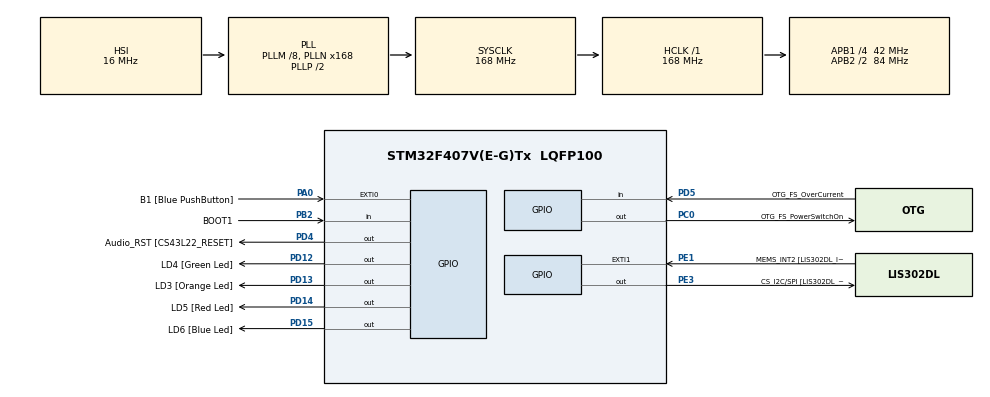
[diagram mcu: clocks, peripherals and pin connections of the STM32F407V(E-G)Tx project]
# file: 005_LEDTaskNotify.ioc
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Mcu.Family=STM32F4
Mcu.Name=STM32F407V(E-G)Tx
Mcu.Package=LQFP100
NVIC.PriorityGroup=NVIC_PRIORITYGROUP_4
NVIC.TIM6_DAC_IRQn=true\:15\:0\:false\:false\:true\:false\:true\:true
NVIC.TimeBase=TIM6_DAC_IRQn
NVIC.TimeBaseIP=TIM6
PA0-WKUP.GPIO_Label=B1 [Blue PushButton]
PA0-WKUP.Signal=GPXTI0
PA10.GPIO_Label=OTG_FS_ID
PA10.GPIO_Mode=GPIO_MODE_AF_PP
PA10.GPIO_PuPd=GPIO_NOPULL
PA10.GPIO_Speed=GPIO_SPEED_FREQ_LOW
PA10.Signal=USB_OTG_FS_ID
PA11.GPIO_Label=OTG_FS_DM
PA11.GPIO_Mode=GPIO_MODE_AF_PP
PA11.GPIO_PuPd=GPIO_NOPULL
PA11.GPIO_Speed=GPIO_SPEED_FREQ_LOW
PA11.Signal=USB_OTG_FS_DM
PA12.GPIO_Label=OTG_FS_DP
PA12.GPIO_Mode=GPIO_MODE_AF_PP
PA12.GPIO_PuPd=GPIO_NOPULL
PA12.GPIO_Speed=GPIO_SPEED_FREQ_LOW
PA12.Signal=USB_OTG_FS_DP
PA13.GPIO_Label=SWDIO
PA13.Signal=SYS_JTMS-SWDIO
PA14.GPIO_Label=SWCLK
PA14.Signal=SYS_JTCK-SWCLK
PA4.GPIO_Label=I2S3_WS [CS43L22_LRCK]
PA4.GPIO_Mode=GPIO_MODE_AF_PP
PA4.GPIO_PuPd=GPIO_NOPULL
PA4.GPIO_Speed=GPIO_SPEED_FREQ_LOW
PA4.Signal=I2S3_WS
PA5.GPIO_Label=SPI1_SCK [LIS302DL_SCL/SPC]
PA5.GPIO_Mode=GPIO_MODE_AF_PP
PA5.GPIO_PuPd=GPIO_NOPULL
PA5.GPIO_Speed=GPIO_SPEED_FREQ_LOW
PA5.Signal=SPI1_SCK
PA6.GPIO_Label=SPI1_MISO [LIS302DL_SDO]
PA6.GPIO_Mode=GPIO_MODE_AF_PP
PA6.GPIO_PuPd=GPIO_NOPULL
PA6.GPIO_Speed=GPIO_SPEED_FREQ_LOW
PA6.Signal=SPI1_MISO
PA7.GPIO_Label=SPI1_MOSI [LIS302DL_SDA/SDI/SDO]
PA7.GPIO_Mode=GPIO_MODE_AF_PP
PA7.GPIO_PuPd=GPIO_NOPULL
PA7.GPIO_Speed=GPIO_SPEED_FREQ_LOW
PA7.Signal=SPI1_MOSI
PA9.GPIO_Label=VBUS_FS
PA9.GPIO_Mode=GPIO_MODE_INPUT
PA9.GPIO_PuPd=GPIO_NOPULL
PA9.Signal=USB_OTG_FS_VBUS
PB10.GPIO_Label=CLK_IN [MP45DT02_CLK]
PB10.GPIO_Mode=GPIO_MODE_AF_PP
PB10.GPIO_PuPd=GPIO_NOPULL
PB10.GPIO_Speed=GPIO_SPEED_FREQ_LOW
PB10.Signal=I2S2_CK
PB2.GPIO_Label=BOOT1
PB2.GPIO_Mode=GPIO_MODE_INPUT
PB2.GPIO_PuPd=GPIO_NOPULL
PB2.Signal=GPIO_Input
PB3.GPIO_Label=SWO
PB3.Signal=SYS_JTDO-SWO
PB6.GPIO_Label=Audio_SCL [CS43L22_SCL]
PB6.GPIO_Mode=GPIO_MODE_AF_OD
PB6.GPIO_PuPd=GPIO_NOPULL
PB6.GPIO_Speed=GPIO_SPEED_FREQ_LOW
PB6.Signal=I2C1_SCL
PB9.GPIO_Label=Audio_SDA [CS43L22_SDA]
PB9.GPIO_Mode=GPIO_MODE_AF_OD
PB9.GPIO_PuPd=GPIO_NOPULL
PB9.GPIO_Speed=GPIO_SPEED_FREQ_LOW
PB9.Signal=I2C1_SDA
PC0.GPIO_Label=OTG_FS_PowerSwitchOn
PC0.GPIO_PuPd=GPIO_NOPULL
PC0.GPIO_Speed=GPIO_SPEED_FREQ_LOW
PC0.PinState=GPIO_PIN_SET
PC0.Signal=GPIO_Output
PC10.GPIO_Label=I2S3_SCK [CS43L22_SCLK]
PC10.GPIO_Mode=GPIO_MODE_AF_PP
PC10.GPIO_PuPd=GPIO_NOPULL
PC10.GPIO_Speed=GPIO_SPEED_FREQ_LOW
PC10.Signal=I2S3_CK
PC12.GPIO_Label=I2S3_SD [CS43L22_SDIN]
PC12.GPIO_Mode=GPIO_MODE_AF_PP
PC12.GPIO_PuPd=GPIO_NOPULL
PC12.GPIO_Speed=GPIO_SPEED_FREQ_LOW
PC12.Signal=I2S3_SD
PC14-OSC32_IN.GPIO_Label=PC14-OSC32_IN
PC14-OSC32_IN.Signal=RCC_OSC32_IN
PC15-OSC32_OUT.GPIO_Label=PC15-OSC32_OUT
PC15-OSC32_OUT.Signal=RCC_OSC32_OUT
PC3.GPIO_Label=PDM_OUT [MP45DT02_DOUT]
PC3.GPIO_Mode=GPIO_MODE_AF_PP
PC3.GPIO_PuPd=GPIO_NOPULL
PC3.GPIO_Speed=GPIO_SPEED_FREQ_LOW
PC3.Signal=I2S2_SD
PC7.GPIO_Label=I2S3_MCK [CS43L22_MCLK]
PC7.GPIO_Mode=GPIO_MODE_AF_PP
PC7.GPIO_PuPd=GPIO_NOPULL
PC7.GPIO_Speed=GPIO_SPEED_FREQ_LOW
PC7.Signal=I2S3_MCK
PD12.GPIO_Label=LD4 [Green Led]
PD12.GPIO_PuPd=GPIO_NOPULL
PD12.GPIO_Speed=GPIO_SPEED_FREQ_LOW
PD12.Signal=GPIO_Output
PD13.GPIO_Label=LD3 [Orange Led]
PD13.GPIO_PuPd=GPIO_NOPULL
PD13.GPIO_Speed=GPIO_SPEED_FREQ_LOW
PD13.Signal=GPIO_Output
PD14.GPIO_Label=LD5 [Red Led]
PD14.GPIO_PuPd=GPIO_NOPULL
PD14.GPIO_Speed=GPIO_SPEED_FREQ_LOW
PD14.Signal=GPIO_Output
PD15.GPIO_Label=LD6 [Blue Led]
PD15.GPIO_PuPd=GPIO_NOPULL
PD15.GPIO_Speed=GPIO_SPEED_FREQ_LOW
PD15.Signal=GPIO_Output
PD4.GPIO_Label=Audio_RST [CS43L22_RESET]
PD4.GPIO_PuPd=GPIO_NOPULL
PD4.GPIO_Speed=GPIO_SPEED_FREQ_LOW
PD4.Signal=GPIO_Output
PD5.GPIO_Label=OTG_FS_OverCurrent
PD5.GPIO_Mode=GPIO_MODE_INPUT
PD5.GPIO_PuPd=GPIO_NOPULL
PD5.Signal=GPIO_Input
PE1.GPIO_Label=MEMS_INT2 [LIS302DL_INT2]
PE1.GPIO_ModeDefaultEXTI=GPIO_MODE_EVT_RISING
PE1.GPIO_PuPd=GPIO_NOPULL
PE1.Signal=GPXTI1
PE3.GPIO_Label=CS_I2C/SPI [LIS302DL_CS_I2C/SPI]
PE3.GPIO_PuPd=GPIO_NOPULL
PE3.GPIO_Speed=GPIO_SPEED_FREQ_LOW
PE3.Signal=GPIO_Output
PH0-OSC_IN.GPIO_Label=PH0-OSC_IN
PH0-OSC_IN.Signal=RCC_OSC_IN
PH1-OSC_OUT.GPIO_Label=PH1-OSC_OUT
PH1-OSC_OUT.Signal=RCC_OSC_OUT
ProjectManager.HeapSize=0x200
ProjectManager.StackSize=0x400
ProjectManager.TargetToolchain=STM32CubeIDE
RCC.48MHZClocksFreq_Value=48000000
RCC.AHBFreq_Value=168000000
RCC.APB1CLKDivider=RCC_HCLK_DIV4
RCC.APB1Freq_Value=42000000
RCC.APB1TimFreq_Value=84000000
RCC.APB2CLKDivider=RCC_HCLK_DIV2
RCC.APB2Freq_Value=84000000
RCC.APB2TimFreq_Value=168000000
RCC.CortexFreq_Value=168000000
RCC.HCLKFreq_Value=168000000
RCC.HSE_VALUE=8000000
RCC.HSI_VALUE=16000000
RCC.LSE_VALUE=32768
RCC.PLLM=8
RCC.PLLN=168
RCC.PLLQ=7
RCC.SYSCLKFreq_VALUE=168000000
RCC.SYSCLKSource=RCC_SYSCLKSOURCE_PLLCLK
RCC.VCOOutputFreq_Value=336000000
VP_SYS_VS_tim6.Mode=TIM6
board=STM32F407G-DISC1

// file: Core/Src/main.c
/* USER CODE BEGIN Header */
/**
  ******************************************************************************
  * @file           : main.c
  * @brief          : Main program body
  ******************************************************************************
  * @attention
  *
  * Copyright (c) 2025 STMicroelectronics.
  * All rights reserved.
  *
  * This software is licensed under terms that can be found in the LICENSE file
  * in the root directory of this software component.
  * If no LICENSE file comes with this software, it is provided AS-IS.
  *
  ******************************************************************************
  */
/* USER CODE END Header */
#include "main.h"

/* USER CODE BEGIN Includes */
#include "FreeRTOS.h"
#include "task.h"
/* USER CODE END Includes */

/* USER CODE BEGIN PV */
#define DWT_CTRL    (*(volatile uint32_t*)0xE0001000)
/* USER CODE END PV */

void SystemClock_Config(void);
static void MX_GPIO_Init(void);
/* USER CODE BEGIN PFP */
static void led_green_handler(void* parameters);
static void led_orange_handler(void* parameters);
static void led_red_handler(void* parameters);
static void button_handler(void* parameters);
extern void SEGGER_UART_init(uint32_t);

/* LED freeze flags */
volatile uint8_t green_frozen  = 0;
volatile uint8_t orange_frozen = 0;
volatile uint8_t red_frozen    = 0;
volatile uint8_t frozen_count = 0;

/* Task handles */
TaskHandle_t ledg_task_handle;
TaskHandle_t ledo_task_handle;
TaskHandle_t ledr_task_handle;
TaskHandle_t btn_task_handle;

/* Task that will be notified next */
TaskHandle_t volatile next_task_handle = NULL;

/* USER CODE END PFP */

int main(void)
{

  /* USER CODE BEGIN 1 */
	BaseType_t status;

  /* USER CODE END 1 */

  /* MCU Configuration--------------------------------------------------------*/

  /* Reset of all peripherals, Initializes the Flash interface and the Systick. */
  HAL_Init();

  /* Configure the system clock */
  SystemClock_Config();

  /* Initialize all configured peripherals */
  MX_GPIO_Init();
  /* USER CODE BEGIN 2 */
  SEGGER_UART_init(500000);

  /* CYCLCNT enable */
  DWT_CTRL |= ( 1 << 0);

  SEGGER_SYSVIEW_Conf();

  /* Create the task, storing the handle led green. */
  status = xTaskCreate(led_green_handler, "LED_green_task", 200, NULL, 2, &ledg_task_handle);
  configASSERT(status == pdPASS);
  next_task_handle = ledg_task_handle;

  /* Create the task, storing the handle led orange. */
  status = xTaskCreate(led_orange_handler, "LED_orange_task", 200, NULL, 2, &ledo_task_handle);
  configASSERT(status == pdPASS);

  /* Create the task, storing the handle led red. */
  status = xTaskCreate(led_red_handler, "LED_red_task", 200, NULL, 2, &ledr_task_handle);
  configASSERT(status == pdPASS);

  /* Create the task, storing the handle button. */
  status = xTaskCreate(button_handler, "Button task", 200, NULL, 3, &btn_task_handle);
  configASSERT(status == pdPASS);

  /* Start the freeRTOS scheduler */
  vTaskStartScheduler();

  /* USER CODE END 2 */

  /* Infinite loop */
  while (1)
  {

  }
}

void SystemClock_Config(void)
{
  RCC_OscInitTypeDef RCC_OscInitStruct = {0};
  RCC_ClkInitTypeDef RCC_ClkInitStruct = {0};

  /** Configure the main internal regulator output voltage
  */
  __HAL_RCC_PWR_CLK_ENABLE();
  __HAL_PWR_VOLTAGESCALING_CONFIG(PWR_REGULATOR_VOLTAGE_SCALE1);

  /** Initializes the RCC Oscillators according to the specified parameters
  * in the RCC_OscInitTypeDef structure.
  */
  RCC_OscInitStruct.OscillatorType = RCC_OSCILLATORTYPE_HSI;
  RCC_OscInitStruct.HSIState = RCC_HSI_ON;
  RCC_OscInitStruct.HSICalibrationValue = RCC_HSICALIBRATION_DEFAULT;
  RCC_OscInitStruct.PLL.PLLState = RCC_PLL_ON;
  RCC_OscInitStruct.PLL.PLLSource = RCC_PLLSOURCE_HSI;
  RCC_OscInitStruct.PLL.PLLM = 8;
  RCC_OscInitStruct.PLL.PLLN = 168;
  RCC_OscInitStruct.PLL.PLLP = RCC_PLLP_DIV2;
  RCC_OscInitStruct.PLL.PLLQ = 7;
  if (HAL_RCC_OscConfig(&RCC_OscInitStruct) != HAL_OK)
  {
    Error_Handler();
  }

  /** Initializes the CPU, AHB and APB buses clocks
  */
  RCC_ClkInitStruct.ClockType = RCC_CLOCKTYPE_HCLK|RCC_CLOCKTYPE_SYSCLK
                              |RCC_CLOCKTYPE_PCLK1|RCC_CLOCKTYPE_PCLK2;
  RCC_ClkInitStruct.SYSCLKSource = RCC_SYSCLKSOURCE_PLLCLK;
  RCC_ClkInitStruct.AHBCLKDivider = RCC_SYSCLK_DIV1;
  RCC_ClkInitStruct.APB1CLKDivider = RCC_HCLK_DIV4;
  RCC_ClkInitStruct.APB2CLKDivider = RCC_HCLK_DIV2;

  if (HAL_RCC_ClockConfig(&RCC_ClkInitStruct, FLASH_LATENCY_5) != HAL_OK)
  {
    Error_Handler();
  }
}

static void MX_GPIO_Init(void)
{
  GPIO_InitTypeDef GPIO_InitStruct = {0};

  /* GPIO Ports Clock Enable */
  __HAL_RCC_GPIOE_CLK_ENABLE();
  __HAL_RCC_GPIOC_CLK_ENABLE();
  __HAL_RCC_GPIOH_CLK_ENABLE();
  __HAL_RCC_GPIOA_CLK_ENABLE();
  __HAL_RCC_GPIOB_CLK_ENABLE();
  __HAL_RCC_GPIOD_CLK_ENABLE();

  /*Configure GPIO pin Output Level */
  HAL_GPIO_WritePin(CS_I2C_SPI_GPIO_Port, CS_I2C_SPI_Pin, GPIO_PIN_RESET);

  /*Configure GPIO pin Output Level */
  HAL_GPIO_WritePin(OTG_FS_PowerSwitchOn_GPIO_Port, OTG_FS_PowerSwitchOn_Pin, GPIO_PIN_SET);

  /*Configure GPIO pin Output Level */
  HAL_GPIO_WritePin(GPIOD, LD4_Pin|LD3_Pin|LD5_Pin|LD6_Pin
                          |Audio_RST_Pin, GPIO_PIN_RESET);

  /*Configure GPIO pin : CS_I2C_SPI_Pin */
  GPIO_InitStruct.Pin = CS_I2C_SPI_Pin;
  GPIO_InitStruct.Mode = GPIO_MODE_OUTPUT_PP;
  GPIO_InitStruct.Pull = GPIO_NOPULL;
  GPIO_InitStruct.Speed = GPIO_SPEED_FREQ_LOW;
  HAL_GPIO_Init(CS_I2C_SPI_GPIO_Port, &GPIO_InitStruct);

  /*Configure GPIO pin : OTG_FS_PowerSwitchOn_Pin */
  GPIO_InitStruct.Pin = OTG_FS_PowerSwitchOn_Pin;
  GPIO_InitStruct.Mode = GPIO_MODE_OUTPUT_PP;
  GPIO_InitStruct.Pull = GPIO_NOPULL;
  GPIO_InitStruct.Speed = GPIO_SPEED_FREQ_LOW;
  HAL_GPIO_Init(OTG_FS_PowerSwitchOn_GPIO_Port, &GPIO_InitStruct);

  /*Configure GPIO pin : PDM_OUT_Pin */
  GPIO_InitStruct.Pin = PDM_OUT_Pin;
  GPIO_InitStruct.Mode = GPIO_MODE_AF_PP;
  GPIO_InitStruct.Pull = GPIO_NOPULL;
  GPIO_InitStruct.Speed = GPIO_SPEED_FREQ_LOW;
  GPIO_InitStruct.Alternate = GPIO_AF5_SPI2;
  HAL_GPIO_Init(PDM_OUT_GPIO_Port, &GPIO_InitStruct);

  /*Configure GPIO pin : B1_Pin */
  GPIO_InitStruct.Pin = B1_Pin;
  GPIO_InitStruct.Mode = GPIO_MODE_IT_RISING;
  GPIO_InitStruct.Pull = GPIO_NOPULL;
  HAL_GPIO_Init(B1_GPIO_Port, &GPIO_InitStruct);

  /*Configure GPIO pin : I2S3_WS_Pin */
  GPIO_InitStruct.Pin = I2S3_WS_Pin;
  GPIO_InitStruct.Mode = GPIO_MODE_AF_PP;
  GPIO_InitStruct.Pull = GPIO_NOPULL;
  GPIO_InitStruct.Speed = GPIO_SPEED_FREQ_LOW;
  GPIO_InitStruct.Alternate = GPIO_AF6_SPI3;
  HAL_GPIO_Init(I2S3_WS_GPIO_Port, &GPIO_InitStruct);

  /*Configure GPIO pins : SPI1_SCK_Pin SPI1_MISO_Pin SPI1_MOSI_Pin */
  GPIO_InitStruct.Pin = SPI1_SCK_Pin|SPI1_MISO_Pin|SPI1_MOSI_Pin;
  GPIO_InitStruct.Mode = GPIO_MODE_AF_PP;
  GPIO_InitStruct.Pull = GPIO_NOPULL;
  GPIO_InitStruct.Speed = GPIO_SPEED_FREQ_LOW;
  GPIO_InitStruct.Alternate = GPIO_AF5_SPI1;
  HAL_GPIO_Init(GPIOA, &GPIO_InitStruct);

  /*Configure GPIO pin : BOOT1_Pin */
  GPIO_InitStruct.Pin = BOOT1_Pin;
  GPIO_InitStruct.Mode = GPIO_MODE_INPUT;
  GPIO_InitStruct.Pull = GPIO_NOPULL;
  HAL_GPIO_Init(BOOT1_GPIO_Port, &GPIO_InitStruct);

  /*Configure GPIO pin : CLK_IN_Pin */
  GPIO_InitStruct.Pin = CLK_IN_Pin;
  GPIO_InitStruct.Mode = GPIO_MODE_AF_PP;
  GPIO_InitStruct.Pull = GPIO_NOPULL;
  GPIO_InitStruct.Speed = GPIO_SPEED_FREQ_LOW;
  GPIO_InitStruct.Alternate = GPIO_AF5_SPI2;
  HAL_GPIO_Init(CLK_IN_GPIO_Port, &GPIO_InitStruct);

  /*Configure GPIO pins : LD4_Pin LD3_Pin LD5_Pin LD6_Pin
                           Audio_RST_Pin */
  GPIO_InitStruct.Pin = LD4_Pin|LD3_Pin|LD5_Pin|LD6_Pin
                          |Audio_RST_Pin;
  GPIO_InitStruct.Mode = GPIO_MODE_OUTPUT_PP;
  GPIO_InitStruct.Pull = GPIO_NOPULL;
  GPIO_InitStruct.Speed = GPIO_SPEED_FREQ_LOW;
  HAL_GPIO_Init(GPIOD, &GPIO_InitStruct);

  /*Configure GPIO pins : I2S3_MCK_Pin I2S3_SCK_Pin I2S3_SD_Pin */
  GPIO_InitStruct.Pin = I2S3_MCK_Pin|I2S3_SCK_Pin|I2S3_SD_Pin;
  GPIO_InitStruct.Mode = GPIO_MODE_AF_PP;
  GPIO_InitStruct.Pull = GPIO_NOPULL;
  GPIO_InitStruct.Speed = GPIO_SPEED_FREQ_LOW;
  GPIO_InitStruct.Alternate = GPIO_AF6_SPI3;
  HAL_GPIO_Init(GPIOC, &GPIO_InitStruct);

  /*Configure GPIO pin : VBUS_FS_Pin */
  GPIO_InitStruct.Pin = VBUS_FS_Pin;
  GPIO_InitStruct.Mode = GPIO_MODE_INPUT;
  GPIO_InitStruct.Pull = GPIO_NOPULL;
  HAL_GPIO_Init(VBUS_FS_GPIO_Port, &GPIO_InitStruct);

  /*Configure GPIO pins : OTG_FS_ID_Pin OTG_FS_DM_Pin OTG_FS_DP_Pin */
  GPIO_InitStruct.Pin = OTG_FS_ID_Pin|OTG_FS_DM_Pin|OTG_FS_DP_Pin;
  GPIO_InitStruct.Mode = GPIO_MODE_AF_PP;
  GPIO_InitStruct.Pull = GPIO_NOPULL;
  GPIO_InitStruct.Speed = GPIO_SPEED_FREQ_LOW;
  GPIO_InitStruct.Alternate = GPIO_AF10_OTG_FS;
  HAL_GPIO_Init(GPIOA, &GPIO_InitStruct);

  /*Configure GPIO pin : OTG_FS_OverCurrent_Pin */
  GPIO_InitStruct.Pin = OTG_FS_OverCurrent_Pin;
  GPIO_InitStruct.Mode = GPIO_MODE_INPUT;
  GPIO_InitStruct.Pull = GPIO_NOPULL;
  HAL_GPIO_Init(OTG_FS_OverCurrent_GPIO_Port, &GPIO_InitStruct);

  /*Configure GPIO pins : Audio_SCL_Pin Audio_SDA_Pin */
  GPIO_InitStruct.Pin = Audio_SCL_Pin|Audio_SDA_Pin;
  GPIO_InitStruct.Mode = GPIO_MODE_AF_OD;
  GPIO_InitStruct.Pull = GPIO_NOPULL;
  GPIO_InitStruct.Speed = GPIO_SPEED_FREQ_LOW;
  GPIO_InitStruct.Alternate = GPIO_AF4_I2C1;
  HAL_GPIO_Init(GPIOB, &GPIO_InitStruct);

  /*Configure GPIO pin : MEMS_INT2_Pin */
  GPIO_InitStruct.Pin = MEMS_INT2_Pin;
  GPIO_InitStruct.Mode = GPIO_MODE_EVT_RISING;
  GPIO_InitStruct.Pull = GPIO_NOPULL;
  HAL_GPIO_Init(MEMS_INT2_GPIO_Port, &GPIO_InitStruct);

}

/* USER CODE BEGIN 4 */

static void led_green_handler(void* parameters)
{
	BaseType_t status;
	uint32_t command;

	while(1)
	{
		/* if not freeze-> toggle */
		if (!green_frozen)
		{
			HAL_GPIO_TogglePin(GPIOD, LED_GREEN_PIN);
		}
		status = xTaskNotifyWait(0xFFFFFFFF, 0, &command, pdMS_TO_TICKS(500));

		if (status == pdTRUE)
		{
			if (command == 0)
			{
				green_frozen = 1;
				frozen_count++;
				HAL_GPIO_WritePin(GPIOD, LED_GREEN_PIN, GPIO_PIN_SET);
				SEGGER_SYSVIEW_PrintfTarget("Green LED FROZEN");
				next_task_handle = ledo_task_handle;
			}
			else
			{
				SEGGER_SYSVIEW_PrintfTarget("GREEN LED RESUME");
			}
		}
	}
}

static void led_orange_handler(void *params)
{
    BaseType_t status;
    uint32_t command;

    while (1)
    {
        if (!orange_frozen)
        {
            HAL_GPIO_TogglePin(GPIOD, LED_ORANGE_PIN);
        }

        status = xTaskNotifyWait(0xFFFFFFFF, 0, &command, pdMS_TO_TICKS(500));

        if (status == pdTRUE)
        {
            if (command == 0)
            {
                orange_frozen = 1;
                frozen_count++;

                HAL_GPIO_WritePin(GPIOD, LED_ORANGE_PIN, GPIO_PIN_SET);
                SEGGER_SYSVIEW_PrintfTarget("Orange LED FROZEN");

                next_task_handle = ledr_task_handle;
            }
            else
            {
                SEGGER_SYSVIEW_PrintfTarget("ORANGE LED RESUME");
            }
        }
    }
}

static void led_red_handler(void *params)
{
    BaseType_t status;
    uint32_t command;

    while (1)
    {
        if (!red_frozen)
        {
            HAL_GPIO_TogglePin(GPIOD, LED_RED_PIN);
        }

        status = xTaskNotifyWait(0xFFFFFFFF, 0, &command, pdMS_TO_TICKS(500));

        if (status == pdTRUE)
        {
            if (command == 0)
            {
                red_frozen = 1;
                frozen_count++;

                HAL_GPIO_WritePin(GPIOD, LED_RED_PIN, GPIO_PIN_SET);
                SEGGER_SYSVIEW_PrintfTarget("Red LED FROZEN");

                next_task_handle = NULL; // no more
            }
            else
            {
                SEGGER_SYSVIEW_PrintfTarget("RED LED RESUME");
            }
        }
    }
}

static void button_handler(void* parameters)
{
	uint8_t btn_read = 0, prev_read = 0;

	while (1)
	{
		btn_read = HAL_GPIO_ReadPin(GPIOA, GPIO_PIN_0);
		if (btn_read && !prev_read)
		{
			SEGGER_SYSVIEW_PrintfTarget("Button pressed");

			if (frozen_count < 3)
			{
				/* Send notify to next led */
				xTaskNotify(next_task_handle, 0, eNoAction);
			}
			else
			{
				/* 3 led freeze -> reset all led */
				SEGGER_SYSVIEW_PrintfTarget("RESET ALL LEDs");
				green_frozen = 0;
				orange_frozen = 0;
				red_frozen = 0;
				frozen_count = 0;

				/* Reset LEDs to low */
				HAL_GPIO_WritePin(GPIOD, LED_GREEN_PIN,  GPIO_PIN_RESET);
				HAL_GPIO_WritePin(GPIOD, LED_ORANGE_PIN, GPIO_PIN_RESET);
				HAL_GPIO_WritePin(GPIOD, LED_RED_PIN,    GPIO_PIN_RESET);

				/* Toggle all LEDs */
				xTaskNotify(ledg_task_handle, 1, eSetValueWithOverwrite);
				xTaskNotify(ledo_task_handle, 1, eSetValueWithOverwrite);
				xTaskNotify(ledr_task_handle, 1, eSetValueWithOverwrite);

				/* Put next task start with led green task */
				next_task_handle = ledg_task_handle;
			}
		}
		prev_read = btn_read;
		vTaskDelay(pdMS_TO_TICKS(10));
	}
}

/* USER CODE END 4 */

void HAL_TIM_PeriodElapsedCallback(TIM_HandleTypeDef *htim)
{
  if (htim->Instance == TIM6)
  {
    HAL_IncTick();
  }
}

void Error_Handler(void)
{
  __disable_irq();
  while (1)
  {
  }
}
